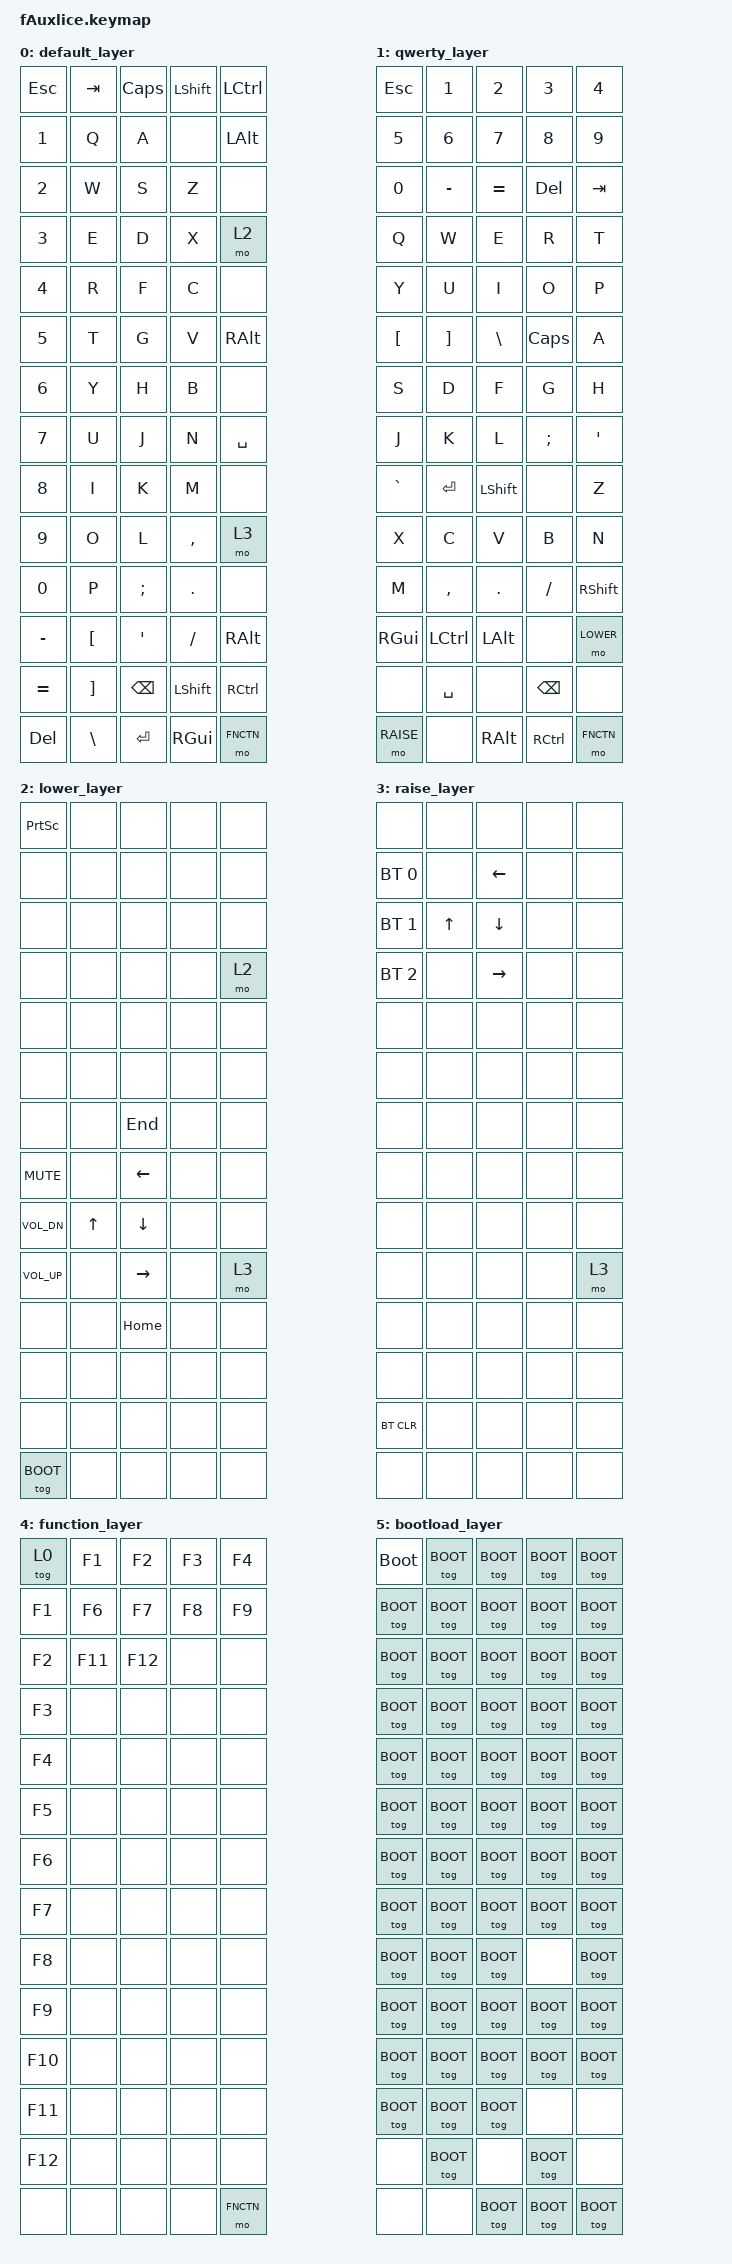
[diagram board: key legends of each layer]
#include <behaviors.dtsi>
#include <dt-bindings/zmk/bt.h>
#include <dt-bindings/zmk/keys.h>
#include <dt-bindings/zmk/outputs.h>

#define DEFAULT 0
#define QWERTY  1
#define LOWER   2
#define RAISE   3
#define FNCTN   4
#define BOOT    5

&kscan0 {
    debounce-press-ms = <10>;
    debounce-release-ms = <10>;
};

/ {
    keymap {
        compatible = "zmk,keymap";

        default_layer {
            bindings = <
&kp ESC       &kp TAB            &kp CAPSLOCK   &kp LSHFT      &kp LCTRL
&kp NUMBER_1  &kp Q              &kp A          &none          &kp LALT
&kp NUMBER_2  &kp W              &kp S          &kp Z          &none
&kp NUMBER_3  &kp E              &kp D          &kp X          &mo 2
&kp NUMBER_4  &kp R              &kp F          &kp C          &none
&kp N5        &kp T              &kp G          &kp V          &kp RIGHT_ALT
&kp NUMBER_6  &kp Y              &kp H          &kp B          &none
&kp N7        &kp U              &kp J          &kp N          &kp SPACE
&kp N8        &kp I              &kp K          &kp M          &none
&kp N9        &kp O              &kp L          &kp COMMA      &mo 3
&kp N0        &kp P              &kp SEMICOLON  &kp PERIOD     &none
&kp MINUS     &kp LEFT_BRACKET   &kp SQT        &kp SLASH      &kp RIGHT_ALT
&kp EQUAL     &kp RIGHT_BRACKET  &kp BACKSPACE  &kp LSHFT      &kp RCTRL
&kp DEL       &kp BACKSLASH      &kp ENTER      &kp RIGHT_GUI  &mo FNCTN
            >;
        };

        qwerty_layer {
            bindings = <
&kp ESC    &kp N1     &kp N2     &kp N3      &kp N4
&kp N5     &kp N6     &kp N7     &kp N8      &kp N9
&kp N0     &kp MINUS  &kp EQUAL  &kp DELETE  &kp TAB
&kp Q      &kp W      &kp E      &kp R       &kp T
&kp Y      &kp U      &kp I      &kp O       &kp P
&kp LBKT   &kp RBKT   &kp BSLH   &kp CAPS    &kp A
&kp S      &kp D      &kp F      &kp G       &kp H
&kp J      &kp K      &kp L      &kp SEMI    &kp SQT
&kp GRAVE  &kp ENTER  &kp LSHFT  &none       &kp Z
&kp X      &kp C      &kp V      &kp B       &kp N
&kp M      &kp COMMA  &kp DOT    &kp SLASH   &kp RSHFT
&kp RGUI   &kp LCTRL  &kp LALT   &none       &mo LOWER
&none      &kp SPACE  &none      &kp BSPC    &none
&mo RAISE  &none      &kp RALT   &kp RCTRL   &mo FNCTN
            >;
        };

        lower_layer {
            bindings = <
&kp PSCRN        &none   &none      &none  &none
&none            &none   &none      &none  &none
&none            &none   &none      &none  &none
&none            &none   &none      &none  &mo 2
&none            &none   &none      &none  &none
&none            &none   &none      &none  &none
&none            &none   &kp END    &none  &none
&kp C_MUTE       &none   &kp LEFT   &none  &none
&kp C_VOL_DN     &kp UP  &kp DOWN   &none  &none
&kp C_VOLUME_UP  &none   &kp RIGHT  &none  &mo 3
&none            &none   &kp HOME   &none  &none
&none            &none   &none      &none  &none
&none            &none   &none      &none  &none
&tog BOOT        &none   &none      &none  &none
            >;
        };

        raise_layer {
            bindings = <
&none         &none         &none      &none  &none
&bt BT_SEL 0  &none         &kp LEFT   &none  &none
&bt BT_SEL 1  &kp UP_ARROW  &kp DOWN   &none  &none
&bt BT_SEL 2  &none         &kp RIGHT  &none  &none
&none         &none         &none      &none  &none
&none         &none         &none      &none  &none
&none         &none         &none      &none  &none
&none         &none         &none      &none  &none
&none         &none         &none      &none  &none
&none         &none         &none      &none  &mo 3
&none         &none         &none      &none  &none
&none         &none         &none      &none  &none
&bt BT_CLR    &none         &none      &none  &none
&none         &none         &none      &none  &none
            >;
        };

        function_layer {
            bindings = <
&tog 0   &kp F1   &kp F2   &kp F3  &kp F4
&kp F1   &kp F6   &kp F7   &kp F8  &kp F9
&kp F2   &kp F11  &kp F12  &none   &none
&kp F3   &none    &none    &none   &none
&kp F4   &none    &none    &none   &none
&kp F5   &none    &none    &none   &none
&kp F6   &none    &none    &none   &none
&kp F7   &none    &none    &none   &none
&kp F8   &none    &none    &none   &none
&kp F9   &none    &none    &none   &none
&kp F10  &none    &none    &none   &none
&kp F11  &none    &none    &none   &none
&kp F12  &none    &none    &none   &none
&none    &none    &none    &none   &mo FNCTN
            >;
        };

        bootload_layer {
            bindings = <
&bootloader  &tog BOOT  &tog BOOT  &tog BOOT  &tog BOOT
&tog BOOT    &tog BOOT  &tog BOOT  &tog BOOT  &tog BOOT
&tog BOOT    &tog BOOT  &tog BOOT  &tog BOOT  &tog BOOT
&tog BOOT    &tog BOOT  &tog BOOT  &tog BOOT  &tog BOOT
&tog BOOT    &tog BOOT  &tog BOOT  &tog BOOT  &tog BOOT
&tog BOOT    &tog BOOT  &tog BOOT  &tog BOOT  &tog BOOT
&tog BOOT    &tog BOOT  &tog BOOT  &tog BOOT  &tog BOOT
&tog BOOT    &tog BOOT  &tog BOOT  &tog BOOT  &tog BOOT
&tog BOOT    &tog BOOT  &tog BOOT  &none      &tog BOOT
&tog BOOT    &tog BOOT  &tog BOOT  &tog BOOT  &tog BOOT
&tog BOOT    &tog BOOT  &tog BOOT  &tog BOOT  &tog BOOT
&tog BOOT    &tog BOOT  &tog BOOT  &none      &none
&none        &tog BOOT  &none      &tog BOOT  &none
&none        &none      &tog BOOT  &tog BOOT  &tog BOOT
            >;
        };
    };
};
